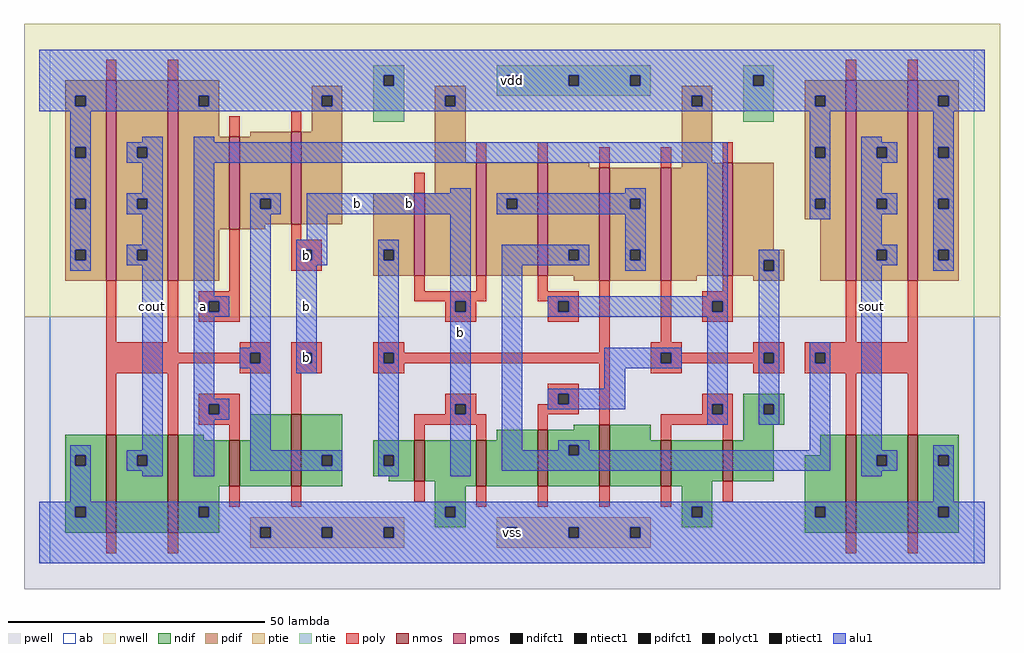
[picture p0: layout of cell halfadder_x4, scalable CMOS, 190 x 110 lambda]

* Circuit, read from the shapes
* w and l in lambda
.subckt halfadder_x4 a b cout sout vdd vss
M1 cout n1 vss vss nfet w=19 l=2 m=2
M2 n2 a vss vss nfet w=9 l=2
M3 n1 b n2 vss nfet w=14 l=2
M4 vss b n3 vss nfet w=8 l=2
M5 n4 b vss vss nfet w=9 l=2
M6 n5 n6 n4 vss nfet w=11 l=2
M7 n7 n3 n5 vss nfet w=12 l=2
M8 vss a n7 vss nfet w=9 l=2
M9 n6 a vss vss nfet w=8 l=2
M10 sout n5 vss vss nfet w=19 l=2 m=2
M11 cout n1 vdd vdd pfet w=39 l=2 m=2
M12 n1 a vdd vdd pfet w=18 l=2
M13 vdd b n1 vdd pfet w=18 l=2
M14 vdd b n3 vdd pfet w=16 l=2
M15 n8 b vdd vdd pfet w=22 l=2
M16 n5 a n8 vdd pfet w=22 l=2
M17 n8 n3 n5 vdd pfet w=22 l=2
M18 vdd n6 n8 vdd pfet w=22 l=2
M19 n6 a vdd vdd pfet w=22 l=2
M20 sout n5 vdd vdd pfet w=39 l=2 m=2
.ends

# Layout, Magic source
magic
tech scmos
<< ab >>
rect 0 0 180 100
<< nwell >>
rect -5 48 185 105
<< pwell >>
rect -5 -5 185 48
<< poly >>
rect 11 94 13 98
rect 23 94 25 98
rect 155 94 157 98
rect 167 94 169 98
rect 35 83 37 87
rect 47 84 49 88
rect 83 78 85 82
rect 95 78 97 82
rect 71 72 73 76
rect 11 43 13 55
rect 23 43 25 55
rect 35 53 37 65
rect 47 63 49 66
rect 47 61 53 63
rect 47 59 49 61
rect 51 59 53 61
rect 47 57 53 59
rect 107 77 109 81
rect 119 77 121 81
rect 131 78 133 82
rect 29 51 37 53
rect 71 53 73 56
rect 83 53 85 56
rect 71 51 85 53
rect 95 53 97 56
rect 95 51 103 53
rect 29 49 31 51
rect 33 49 37 51
rect 29 47 37 49
rect 77 49 79 51
rect 81 49 83 51
rect 77 47 83 49
rect 97 49 99 51
rect 101 49 103 51
rect 97 47 103 49
rect 11 41 25 43
rect 37 41 43 43
rect 11 39 39 41
rect 41 39 43 41
rect 11 37 25 39
rect 37 37 43 39
rect 47 41 53 43
rect 47 39 49 41
rect 51 39 53 41
rect 47 37 53 39
rect 63 41 69 43
rect 107 41 109 55
rect 119 43 121 55
rect 131 53 133 56
rect 127 51 133 53
rect 127 49 129 51
rect 131 49 133 51
rect 127 47 133 49
rect 155 43 157 55
rect 167 43 169 55
rect 63 39 65 41
rect 67 39 109 41
rect 63 37 69 39
rect 11 25 13 37
rect 23 25 25 37
rect 29 31 37 33
rect 29 29 31 31
rect 33 29 37 31
rect 47 29 49 37
rect 97 33 103 35
rect 77 31 83 33
rect 97 31 99 33
rect 101 31 103 33
rect 77 29 79 31
rect 81 29 83 31
rect 95 29 103 31
rect 29 27 37 29
rect 35 24 37 27
rect 71 27 85 29
rect 71 24 73 27
rect 83 24 85 27
rect 95 26 97 29
rect 107 27 109 39
rect 117 41 123 43
rect 137 41 143 43
rect 117 39 119 41
rect 121 39 139 41
rect 141 39 143 41
rect 117 37 123 39
rect 137 37 143 39
rect 147 41 169 43
rect 147 39 149 41
rect 151 39 169 41
rect 147 37 169 39
rect 127 31 133 33
rect 127 29 129 31
rect 131 29 133 31
rect 119 27 133 29
rect 35 11 37 15
rect 47 11 49 15
rect 71 12 73 16
rect 119 24 121 27
rect 131 24 133 27
rect 155 25 157 37
rect 167 25 169 37
rect 83 11 85 15
rect 95 11 97 15
rect 107 11 109 15
rect 119 11 121 15
rect 131 12 133 16
rect 11 2 13 6
rect 23 2 25 6
rect 155 2 157 6
rect 167 2 169 6
<< ndif >>
rect 3 21 11 25
rect 3 19 5 21
rect 7 19 11 21
rect 3 11 11 19
rect 3 9 5 11
rect 7 9 11 11
rect 3 6 11 9
rect 13 21 23 25
rect 13 19 17 21
rect 19 19 23 21
rect 13 6 23 19
rect 25 24 30 25
rect 39 24 47 29
rect 25 15 35 24
rect 37 15 47 24
rect 49 21 57 29
rect 102 26 107 27
rect 87 24 95 26
rect 49 19 53 21
rect 55 19 57 21
rect 49 15 57 19
rect 63 21 71 24
rect 63 19 65 21
rect 67 19 71 21
rect 63 17 71 19
rect 66 16 71 17
rect 73 16 83 24
rect 25 11 33 15
rect 75 15 83 16
rect 85 15 95 24
rect 97 23 107 26
rect 97 21 101 23
rect 103 21 107 23
rect 97 15 107 21
rect 109 24 117 27
rect 135 31 143 33
rect 135 29 139 31
rect 141 29 143 31
rect 135 27 143 29
rect 135 24 141 27
rect 109 15 119 24
rect 121 16 131 24
rect 133 16 141 24
rect 150 21 155 25
rect 121 15 129 16
rect 75 11 81 15
rect 123 11 129 15
rect 25 9 29 11
rect 31 9 33 11
rect 75 9 77 11
rect 79 9 81 11
rect 123 9 125 11
rect 127 9 129 11
rect 25 6 33 9
rect 75 7 81 9
rect 123 7 129 9
rect 147 11 155 21
rect 147 9 149 11
rect 151 9 155 11
rect 147 6 155 9
rect 157 21 167 25
rect 157 19 161 21
rect 163 19 167 21
rect 157 6 167 19
rect 169 21 177 25
rect 169 19 173 21
rect 175 19 177 21
rect 169 11 177 19
rect 169 9 173 11
rect 175 9 177 11
rect 169 6 177 9
<< pdif >>
rect 3 91 11 94
rect 3 89 5 91
rect 7 89 11 91
rect 3 81 11 89
rect 3 79 5 81
rect 7 79 11 81
rect 3 71 11 79
rect 3 69 5 71
rect 7 69 11 71
rect 3 61 11 69
rect 3 59 5 61
rect 7 59 11 61
rect 3 55 11 59
rect 13 81 23 94
rect 13 79 17 81
rect 19 79 23 81
rect 13 71 23 79
rect 13 69 17 71
rect 19 69 23 71
rect 13 61 23 69
rect 13 59 17 61
rect 19 59 23 61
rect 13 55 23 59
rect 25 91 33 94
rect 25 89 29 91
rect 31 89 33 91
rect 25 83 33 89
rect 51 91 57 93
rect 51 89 53 91
rect 55 89 57 91
rect 51 84 57 89
rect 75 91 81 93
rect 123 91 129 93
rect 75 89 77 91
rect 79 89 81 91
rect 39 83 47 84
rect 25 65 35 83
rect 37 71 47 83
rect 37 69 41 71
rect 43 69 47 71
rect 37 66 47 69
rect 49 66 57 84
rect 75 78 81 89
rect 123 89 125 91
rect 127 89 129 91
rect 75 72 83 78
rect 37 65 42 66
rect 25 55 33 65
rect 63 61 71 72
rect 63 59 65 61
rect 67 59 71 61
rect 63 56 71 59
rect 73 56 83 72
rect 85 71 95 78
rect 85 69 89 71
rect 91 69 95 71
rect 85 56 95 69
rect 97 77 105 78
rect 123 78 129 89
rect 147 91 155 94
rect 147 89 149 91
rect 151 89 155 91
rect 147 81 155 89
rect 147 79 149 81
rect 151 79 155 81
rect 123 77 131 78
rect 97 61 107 77
rect 97 59 101 61
rect 103 59 107 61
rect 97 56 107 59
rect 102 55 107 56
rect 109 71 119 77
rect 109 69 113 71
rect 115 69 119 71
rect 109 61 119 69
rect 109 59 113 61
rect 115 59 119 61
rect 109 55 119 59
rect 121 56 131 77
rect 133 61 141 78
rect 147 71 155 79
rect 147 69 149 71
rect 151 69 155 71
rect 147 67 155 69
rect 133 59 143 61
rect 133 57 139 59
rect 141 57 143 59
rect 133 56 143 57
rect 121 55 126 56
rect 137 55 143 56
rect 150 55 155 67
rect 157 81 167 94
rect 157 79 161 81
rect 163 79 167 81
rect 157 71 167 79
rect 157 69 161 71
rect 163 69 167 71
rect 157 61 167 69
rect 157 59 161 61
rect 163 59 167 61
rect 157 55 167 59
rect 169 91 177 94
rect 169 89 173 91
rect 175 89 177 91
rect 169 81 177 89
rect 169 79 173 81
rect 175 79 177 81
rect 169 71 177 79
rect 169 69 173 71
rect 175 69 177 71
rect 169 61 177 69
rect 169 59 173 61
rect 175 59 177 61
rect 169 55 177 59
<< alu1 >>
rect -2 95 182 100
rect -2 93 65 95
rect 67 93 89 95
rect 91 93 101 95
rect 103 93 113 95
rect 115 93 137 95
rect 139 93 182 95
rect -2 91 182 93
rect -2 89 5 91
rect 7 89 29 91
rect 31 89 53 91
rect 55 89 77 91
rect 79 89 125 91
rect 127 89 149 91
rect 151 89 173 91
rect 175 89 182 91
rect -2 88 182 89
rect 4 81 8 88
rect 18 82 22 83
rect 4 79 5 81
rect 7 79 8 81
rect 4 71 8 79
rect 15 81 22 82
rect 15 79 17 81
rect 19 79 22 81
rect 15 78 22 79
rect 18 72 22 78
rect 4 69 5 71
rect 7 69 8 71
rect 4 61 8 69
rect 15 71 22 72
rect 15 69 17 71
rect 19 69 22 71
rect 15 68 22 69
rect 18 62 22 68
rect 4 59 5 61
rect 7 59 8 61
rect 4 57 8 59
rect 15 61 22 62
rect 15 59 17 61
rect 19 59 22 61
rect 15 58 22 59
rect 4 21 8 23
rect 18 22 22 58
rect 4 19 5 21
rect 7 19 8 21
rect 4 12 8 19
rect 15 21 22 22
rect 15 19 17 21
rect 19 19 22 21
rect 15 18 22 19
rect 18 17 22 18
rect 28 82 32 83
rect 28 78 132 82
rect 28 52 32 78
rect 78 72 82 73
rect 112 72 116 73
rect 39 71 45 72
rect 39 69 41 71
rect 43 69 45 71
rect 39 68 45 69
rect 50 68 82 72
rect 87 71 116 72
rect 87 69 89 71
rect 91 69 113 71
rect 115 69 116 71
rect 87 68 116 69
rect 28 51 35 52
rect 28 49 31 51
rect 33 49 35 51
rect 28 48 35 49
rect 28 32 32 48
rect 39 42 43 68
rect 50 63 54 68
rect 37 41 43 42
rect 37 39 39 41
rect 41 39 43 41
rect 37 38 43 39
rect 28 31 35 32
rect 28 29 31 31
rect 33 29 35 31
rect 28 28 35 29
rect 28 17 32 28
rect 39 22 43 38
rect 48 61 54 63
rect 48 59 49 61
rect 51 59 54 61
rect 48 58 54 59
rect 64 61 68 63
rect 64 59 65 61
rect 67 59 68 61
rect 48 41 52 58
rect 48 39 49 41
rect 51 39 52 41
rect 48 37 52 39
rect 64 41 68 59
rect 64 39 65 41
rect 67 39 68 41
rect 39 21 57 22
rect 39 19 53 21
rect 55 19 57 21
rect 39 18 57 19
rect 64 21 68 39
rect 64 19 65 21
rect 67 19 68 21
rect 64 17 68 19
rect 78 51 82 68
rect 78 49 79 51
rect 81 49 82 51
rect 78 31 82 49
rect 78 29 79 31
rect 81 29 82 31
rect 78 17 82 29
rect 88 61 105 62
rect 88 59 101 61
rect 103 59 105 61
rect 88 58 105 59
rect 112 61 116 68
rect 112 59 113 61
rect 115 59 116 61
rect 88 22 92 58
rect 112 57 116 59
rect 128 52 132 78
rect 148 81 152 88
rect 148 79 149 81
rect 151 79 152 81
rect 148 71 152 79
rect 148 69 149 71
rect 151 69 152 71
rect 148 67 152 69
rect 158 82 162 83
rect 158 81 165 82
rect 158 79 161 81
rect 163 79 165 81
rect 158 78 165 79
rect 172 81 176 88
rect 172 79 173 81
rect 175 79 176 81
rect 158 72 162 78
rect 158 71 165 72
rect 158 69 161 71
rect 163 69 165 71
rect 158 68 165 69
rect 172 71 176 79
rect 172 69 173 71
rect 175 69 176 71
rect 158 62 162 68
rect 158 61 165 62
rect 97 51 132 52
rect 97 49 99 51
rect 101 49 129 51
rect 131 49 132 51
rect 97 48 132 49
rect 108 41 123 42
rect 108 39 119 41
rect 121 39 123 41
rect 108 38 123 39
rect 108 34 112 38
rect 97 33 112 34
rect 97 31 99 33
rect 101 31 112 33
rect 97 30 112 31
rect 128 31 132 48
rect 128 29 129 31
rect 131 29 132 31
rect 128 27 132 29
rect 138 59 142 61
rect 138 57 139 59
rect 141 57 142 59
rect 138 41 142 57
rect 158 59 161 61
rect 163 59 165 61
rect 158 58 165 59
rect 172 61 176 69
rect 172 59 173 61
rect 175 59 176 61
rect 138 39 139 41
rect 141 39 142 41
rect 138 31 142 39
rect 138 29 139 31
rect 141 29 142 31
rect 138 27 142 29
rect 148 41 152 43
rect 148 39 149 41
rect 151 39 152 41
rect 99 23 105 24
rect 99 22 101 23
rect 88 21 101 22
rect 103 22 105 23
rect 148 22 152 39
rect 103 21 152 22
rect 88 18 152 21
rect 158 22 162 58
rect 172 57 176 59
rect 158 21 165 22
rect 158 19 161 21
rect 163 19 165 21
rect 158 18 165 19
rect 172 21 176 23
rect 172 19 173 21
rect 175 19 176 21
rect 158 17 162 18
rect 172 12 176 19
rect -2 11 182 12
rect -2 9 5 11
rect 7 9 29 11
rect 31 9 77 11
rect 79 9 125 11
rect 127 9 149 11
rect 151 9 173 11
rect 175 9 182 11
rect -2 7 182 9
rect -2 5 41 7
rect 43 5 53 7
rect 55 5 65 7
rect 67 5 89 7
rect 91 5 101 7
rect 103 5 113 7
rect 115 5 182 7
rect -2 0 182 5
<< ptie >>
rect 39 7 69 9
rect 87 7 117 9
rect 39 5 41 7
rect 43 5 53 7
rect 55 5 65 7
rect 67 5 69 7
rect 39 3 69 5
rect 87 5 89 7
rect 91 5 101 7
rect 103 5 113 7
rect 115 5 117 7
rect 87 3 117 5
<< ntie >>
rect 63 95 69 97
rect 63 93 65 95
rect 67 93 69 95
rect 87 95 117 97
rect 87 93 89 95
rect 91 93 101 95
rect 103 93 113 95
rect 115 93 117 95
rect 135 95 141 97
rect 135 93 137 95
rect 139 93 141 95
rect 63 86 69 93
rect 87 91 117 93
rect 135 86 141 93
<< nmos >>
rect 11 6 13 25
rect 23 6 25 25
rect 35 15 37 24
rect 47 15 49 29
rect 71 16 73 24
rect 83 15 85 24
rect 95 15 97 26
rect 107 15 109 27
rect 119 15 121 24
rect 131 16 133 24
rect 155 6 157 25
rect 167 6 169 25
<< pmos >>
rect 11 55 13 94
rect 23 55 25 94
rect 35 65 37 83
rect 47 66 49 84
rect 71 56 73 72
rect 83 56 85 78
rect 95 56 97 78
rect 107 55 109 77
rect 119 55 121 77
rect 131 56 133 78
rect 155 55 157 94
rect 167 55 169 94
<< polyct1 >>
rect 49 59 51 61
rect 31 49 33 51
rect 79 49 81 51
rect 99 49 101 51
rect 39 39 41 41
rect 49 39 51 41
rect 129 49 131 51
rect 65 39 67 41
rect 31 29 33 31
rect 99 31 101 33
rect 79 29 81 31
rect 119 39 121 41
rect 139 39 141 41
rect 149 39 151 41
rect 129 29 131 31
<< ndifct1 >>
rect 5 19 7 21
rect 5 9 7 11
rect 17 19 19 21
rect 53 19 55 21
rect 65 19 67 21
rect 101 21 103 23
rect 139 29 141 31
rect 29 9 31 11
rect 77 9 79 11
rect 125 9 127 11
rect 149 9 151 11
rect 161 19 163 21
rect 173 19 175 21
rect 173 9 175 11
<< ntiect1 >>
rect 65 93 67 95
rect 89 93 91 95
rect 101 93 103 95
rect 113 93 115 95
rect 137 93 139 95
<< ptiect1 >>
rect 41 5 43 7
rect 53 5 55 7
rect 65 5 67 7
rect 89 5 91 7
rect 101 5 103 7
rect 113 5 115 7
<< pdifct1 >>
rect 5 89 7 91
rect 5 79 7 81
rect 5 69 7 71
rect 5 59 7 61
rect 17 79 19 81
rect 17 69 19 71
rect 17 59 19 61
rect 29 89 31 91
rect 53 89 55 91
rect 77 89 79 91
rect 41 69 43 71
rect 125 89 127 91
rect 65 59 67 61
rect 89 69 91 71
rect 149 89 151 91
rect 149 79 151 81
rect 101 59 103 61
rect 113 69 115 71
rect 113 59 115 61
rect 149 69 151 71
rect 139 57 141 59
rect 161 79 163 81
rect 161 69 163 71
rect 161 59 163 61
rect 173 89 175 91
rect 173 79 175 81
rect 173 69 175 71
rect 173 59 175 61
<< labels >>
rlabel alu1 30 50 30 50 6 a
rlabel alu1 20 50 20 50 6 cout
rlabel polyct1 50 40 50 40 6 b
rlabel alu1 50 50 50 50 6 b
rlabel polyct1 50 60 50 60 6 b
rlabel alu1 60 70 60 70 6 b
rlabel ptiect1 90 6 90 6 6 vss
rlabel alu1 80 45 80 45 6 b
rlabel alu1 70 70 70 70 6 b
rlabel ntiect1 90 94 90 94 6 vdd
rlabel alu1 160 50 160 50 6 sout
<< end >>
